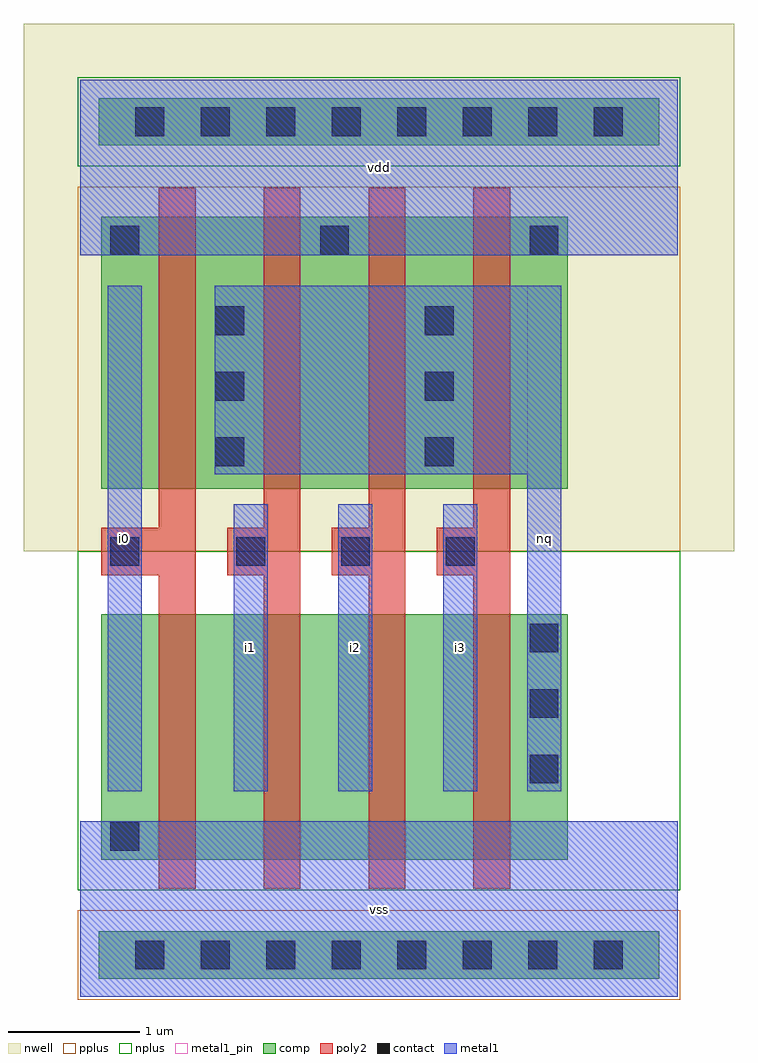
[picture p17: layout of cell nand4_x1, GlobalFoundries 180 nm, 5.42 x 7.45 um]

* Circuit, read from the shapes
.subckt nand4_x1 i0 i1 i2 i3 nq vdd vss
XM1 n1 i0 vss vss nfet_03v3 w=1.875u l=0.28u
XM2 n2 i1 n1 vss nfet_03v3 w=1.875u l=0.28u
XM3 n3 i2 n2 vss nfet_03v3 w=1.875u l=0.28u
XM4 nq i3 n3 vss nfet_03v3 w=1.875u l=0.28u
XM5 nq i0 vdd vdd pfet_03v3 w=2.075u l=0.28u
XM6 vdd i1 nq vdd pfet_03v3 w=2.075u l=0.28u
XM7 nq i2 vdd vdd pfet_03v3 w=2.075u l=0.28u
XM8 vdd i3 nq vdd pfet_03v3 w=2.075u l=0.28u
.ends

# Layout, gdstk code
import gdstk
lib = gdstk.Library(unit=1e-6, precision=1e-09)
def R(c, l, rs):  # rectangles x0, y0, x1, y1
    for r in rs: c.add(gdstk.rectangle(r[:2], r[2:], *l))
def A(c, l, x, y, w, h, nx, ny, dx, dy):  # array of equal rectangles
    R(c, l, [(x+i*dx, y+j*dy, x+i*dx+w, y+j*dy+h) for i in range(nx) for j in range(ny)])
def P(c, l, *ps):  # polygons
    for p in ps: c.add(gdstk.Polygon(p, *l))
nwell = (21, 0)
comp = (22, 0)
poly2 = (30, 0)
pplus = (31, 0)
nplus = (32, 0)
contact = (33, 0)
metal1 = (34, 0)
metal1_pin = (34, 10)

nand4_x1 = lib.new_cell('nand4_x1')
R(nand4_x1, nwell, [(-0.43,3.4,4.99,7.43)])
R(nand4_x1, comp, [(0.14,0.14,4.42,0.5), (0.16,1.045,3.72,2.92), (0.16,3.88,3.72,5.955), (0.14,6.5,4.42,6.86)])
P(nand4_x1, poly2, [(0.6,0.825),(0.6,3.22),(0.16,3.22),(0.16,3.58),(0.6,3.58),(0.6,6.175),(0.88,6.175),(0.88,0.825)],
  [(1.4,0.825),(1.4,3.22),(1.12,3.22),(1.12,3.58),(1.4,3.58),(1.4,6.175),(1.68,6.175),(1.68,0.825)],
  [(2.2,0.825),(2.2,3.22),(1.92,3.22),(1.92,3.58),(2.2,3.58),(2.2,6.175),(2.48,6.175),(2.48,0.825)],
  [(3,0.825),(3,3.22),(2.72,3.22),(2.72,3.58),(3,3.58),(3,6.175),(3.28,6.175),(3.28,0.825)])
R(nand4_x1, pplus, [(-0.02,-0.02,4.58,0.66), (-0.02,3.4,4.58,6.185)])
R(nand4_x1, nplus, [(-0.02,0.815,4.58,3.4), (-0.02,6.34,4.58,7.02)])
A(nand4_x1, contact, 0.42, 0.21, 0.22, 0.22, 8, 2, 0.5, 6.36)
A(nand4_x1, contact, 3.43, 1.63, 0.22, 0.22, 1, 3, 0, 0.5)
A(nand4_x1, contact, 1.19, 3.29, 0.22, 0.22, 3, 1, 0.8, 0)
A(nand4_x1, contact, 1.03, 4.05, 0.22, 0.22, 1, 3, 0, 0.5)
A(nand4_x1, contact, 2.63, 4.05, 0.22, 0.22, 1, 3, 0, 0.5)
A(nand4_x1, contact, 0.23, 5.665, 0.22, 0.22, 3, 1, 1.6, 0)
R(nand4_x1, contact, [(0.23,1.115,0.45,1.335), (0.23,3.29,0.45,3.51)])
A(nand4_x1, metal1, 1.17, 1.57, 0.26, 2.19, 3, 1, 0.8, 0)
R(nand4_x1, metal1, [(0,0,4.56,1.34), (0.21,1.57,0.47,5.43), (0,5.66,4.56,7)])
P(nand4_x1, metal1, [(3.41,1.57),(3.41,3.99),(1.025,3.99),(1.025,5.43),(3.67,5.43),(3.67,1.57)])
A(nand4_x1, metal1_pin, 1.17, 1.57, 0.26, 2.19, 3, 1, 0.8, 0)
R(nand4_x1, metal1_pin, [(0,0,4.56,1.34), (0.21,1.57,0.47,5.43), (3.41,1.57,3.67,5.43), (0,5.66,4.56,7)])
nand4_x1.add(gdstk.Label('vss', (2.28,0.67), layer=34, texttype=10))
nand4_x1.add(gdstk.Label('vdd', (2.28,6.33), layer=34, texttype=10))
nand4_x1.add(gdstk.Label('i0', (0.34,3.5), layer=34, texttype=10))
nand4_x1.add(gdstk.Label('nq', (3.54,3.5), layer=34, texttype=10))
nand4_x1.add(gdstk.Label('i1', (1.3,2.665), layer=34, texttype=10))
nand4_x1.add(gdstk.Label('i2', (2.1,2.665), layer=34, texttype=10))
nand4_x1.add(gdstk.Label('i3', (2.9,2.665), layer=34, texttype=10))

lib.write_gds('nand4_x1.gds')
